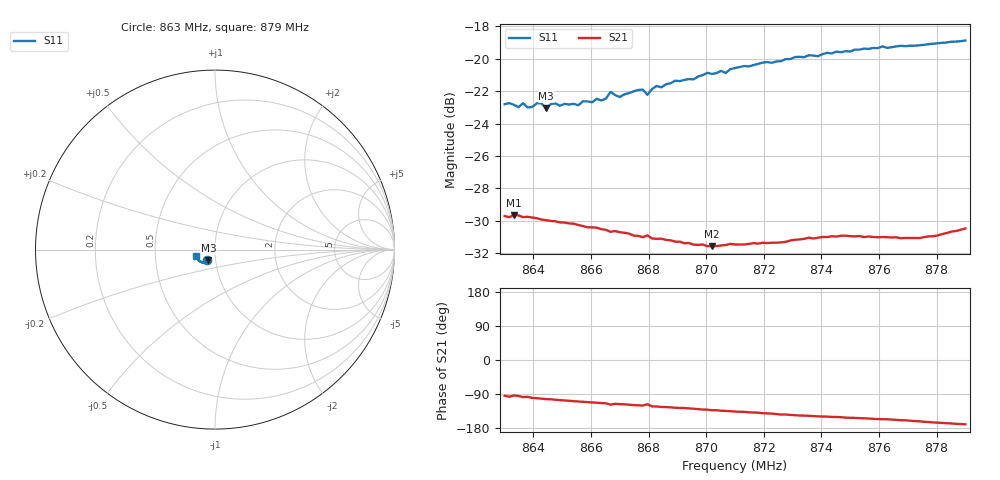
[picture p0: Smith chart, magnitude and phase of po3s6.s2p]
# HZ S RI R 50
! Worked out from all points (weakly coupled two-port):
!   101 points, 863 MHz to 879 MHz, reference 50 ohm
!   highest |S21| = -29.65 dB at 863.32 MHz (marker M1); lowest = -31.6 dB at 870.2 MHz (marker M2)
!   lowest |S11| = -23.1 dB at 864.44 MHz (marker M3), VSWR 1.15, Z = 46.1 - j5.52 ohm
!   |S11| at or under -10 dB: start of sweep to end of sweep
!   S12 and S22 are empty: the file has one direction only
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8.63e8  -0.0439 -0.0576  -0.00242 -0.0326  0 0  0 0
8.6332e8  -0.0382 -0.0611  -0.00214 -0.0329  0 0  0 0
8.6364e8  -0.0423 -0.0593  -0.00441 -0.0322  0 0  0 0
8.638e8  -0.0383 -0.0594  -0.00412 -0.0323  0 0  0 0
8.6428e8  -0.0391 -0.0614  -0.00666 -0.0312  0 0  0 0
8.6444e8  -0.0372 -0.0596  -0.00724 -0.0309  0 0  0 0
8.646e8  -0.0384 -0.0614  -0.0075 -0.0307  0 0  0 0
8.6556e8  -0.0369 -0.0616  -0.0102 -0.0289  0 0  0 0
8.6572e8  -0.0372 -0.0638  -0.0106 -0.0286  0 0  0 0
8.6636e8  -0.0385 -0.0636  -0.012 -0.0273  0 0  0 0
8.6668e8  -0.0429 -0.0663  -0.0136 -0.0259  0 0  0 0
8.67e8  -0.0382 -0.0659  -0.013 -0.0261  0 0  0 0
8.678e8  -0.041 -0.069  -0.0142 -0.0244  0 0  0 0
8.6796e8  -0.0387 -0.067  -0.0128 -0.0255  0 0  0 0
8.6828e8  -0.0421 -0.0708  -0.015 -0.0235  0 0  0 0
8.6844e8  -0.0419 -0.0699  -0.0156 -0.0231  0 0  0 0
8.702e8  -0.0511 -0.0737  -0.0178 -0.0195  0 0  0 0
8.71e8  -0.0559 -0.0749  -0.0193 -0.0185  0 0  0 0
8.7372e8  -0.0739 -0.0706  -0.0237 -0.0148  0 0  0 0
8.7644e8  -0.0932 -0.0554  -0.0259 -0.0109  0 0  0 0
8.774e8  -0.0986 -0.0485  -0.0266 -0.00876  0 0  0 0
8.79e8  -0.1086 -0.034  -0.0295 -0.00531  0 0  0 0
